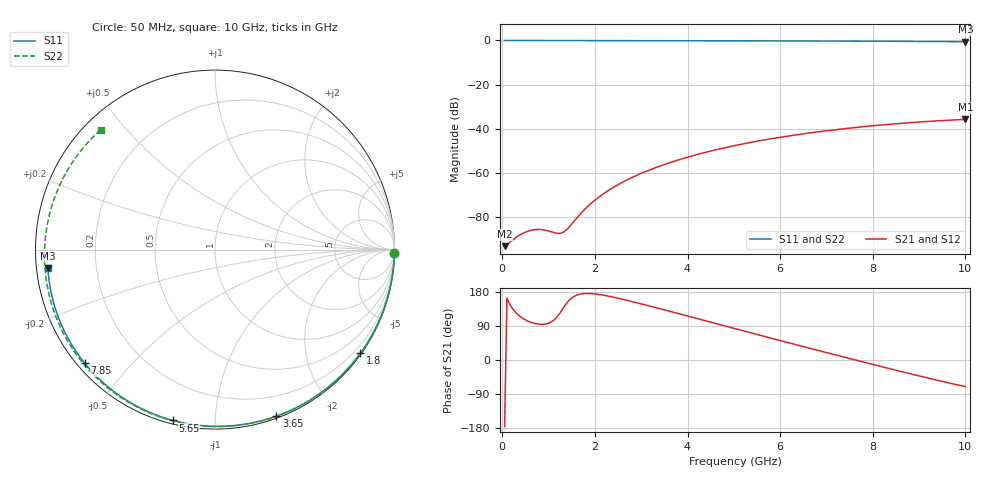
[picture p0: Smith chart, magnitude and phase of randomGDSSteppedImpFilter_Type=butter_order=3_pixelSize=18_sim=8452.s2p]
! freq	dB(S11)	phase(S11)	dB(S12)	phase(S12)
!  dB(S21)	phase(S21)	dB(S22)	phase(S22)
!S-par simulation data
#  GHz  S  DB  R 50
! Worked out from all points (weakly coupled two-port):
!   200 points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, 50 MHz to 10 GHz, reference 50 ohm
!   highest |S21| = -35.78 dB at 10 GHz (marker M1); lowest = -93.3 dB at 50 MHz (marker M2)
!   lowest |S11| = -0.6 dB at 10 GHz (marker M3), VSWR 30.63, Z = 1.64 - j2.74 ohm
!   |S11| at or under -10 dB: nowhere
!   |S22| runs from -0.7 to 0.0 dB; largest |S21 - S12| = 0
!   S11 on the Smith chart (normalised r, x): 50 MHz: open; 1.8 GHz: 0.03, -3.12; 3.65 GHz: 0.02, -1.43; 5.65 GHz: 0.02, -0.78; 7.85 GHz: 0.02, -0.37; 10 GHz: 0.03, -0.05
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0.05  -0.00 -1.0  -93.27 -175.7  -93.27 -175.7  -0.00 -1.2
0.8  -0.02 -16.0  -85.69 94.5  -85.69 94.5  -0.02 -18.8
1.6  -0.04 -31.6  -80.67 170.8  -80.67 170.8  -0.05 -37.2
1.65  -0.04 -32.6  -79.46 172.9  -79.46 172.9  -0.05 -38.4
1.75  -0.04 -34.5  -77.19 175.1  -77.19 175.1  -0.05 -40.7
1.8  -0.05 -35.5  -76.13 175.5  -76.13 175.5  -0.05 -41.8
2.1  -0.05 -41.2  -70.77 172.7  -70.77 172.7  -0.06 -48.6
2.45  -0.06 -47.9  -65.98 164.4  -65.98 164.4  -0.07 -56.3
2.9  -0.07 -56.2  -61.18 151.2  -61.18 151.2  -0.09 -66.2
3.4  -0.09 -65.3  -56.98 135.5  -56.98 135.5  -0.10 -77.0
3.65  -0.09 -69.8  -55.18 127.5  -55.18 127.5  -0.11 -82.4
4.35  -0.12 -82.1  -50.93 104.8  -50.93 104.8  -0.14 -97.0
5.05  -0.14 -93.9  -47.53 81.9  -47.53 81.9  -0.17 -111.5
5.65  -0.17 -103.9  -45.13 62.5  -45.13 62.5  -0.21 -123.8
6.7  -0.24 -120.7  -41.76 28.9  -41.76 28.9  -0.29 -145.6
7.3  -0.28 -130.2  -40.21 10.1  -40.21 10.1  -0.34 -158.4
7.85  -0.33 -138.9  -38.99 -7.0  -38.99 -7.0  -0.40 -170.7
8.35  -0.37 -146.8  -38.03 -22.4  -38.03 -22.4  -0.46 177.7
8.8  -0.42 -154.0  -37.28 -36.0  -37.28 -36.0  -0.52 166.6
9.2  -0.47 -160.4  -36.70 -47.9  -36.70 -47.9  -0.58 156.3
9.6  -0.52 -167.0  -36.20 -59.4  -36.20 -59.4  -0.63 145.3
10  -0.57 -173.7  -35.78 -70.4  -35.78 -70.4  -0.70 133.7
